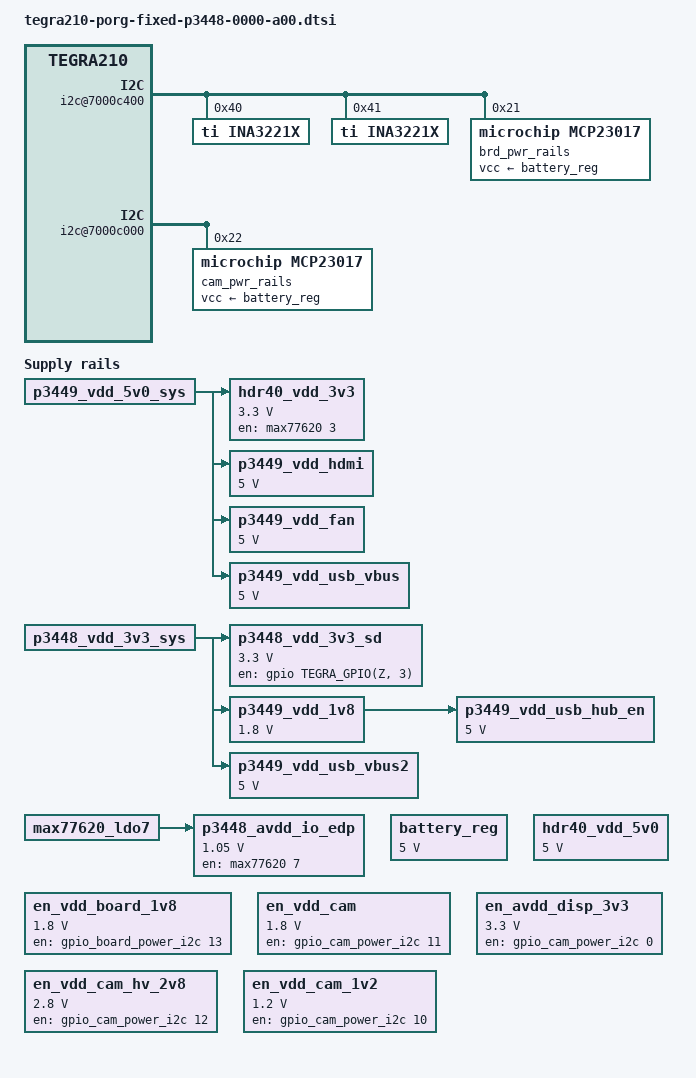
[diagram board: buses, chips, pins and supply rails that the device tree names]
/*
 * Copyright (c) 2018, NVIDIA CORPORATION.  All rights reserved.
 *
 * This program is free software; you can redistribute it and/or modify
 * it under the terms of the GNU General Public License as published by
 * the Free Software Foundation; either version 2 of the License, or
 * (at your option) any later version.
 *
 * This program is distributed in the hope that it will be useful, but WITHOUT
 * ANY WARRANTY; without even the implied warranty of MERCHANTABILITY or
 * FITNESS FOR A PARTICULAR PURPOSE.  See the GNU General Public License for
 * more details.
 *
 * You should have received a copy of the GNU General Public License along
 * with this program; if not, write to the Free Software Foundation, Inc.,
 * 51 Franklin Street, Fifth Floor, Boston, MA  02110-1301, USA.
 */

#include <dt-bindings/gpio/tegra-gpio.h>
#include <dt-bindings/input/input.h>

/ {

	i2c@7000c400 {
		ina3221x@40 { // NAMES FOR THE NEW INA'S
			compatible = "ti,ina3221x";
			reg = <0x40>;
			ti,trigger-config = <0x7003>;
			ti,continuous-config = <0x7c07>;
			ti,enable-forced-continuous;
			#address-cells = <1>;
			#size-cells = <0>;
			channel@0 {
				reg = <0x0>;
				ti,rail-name = "VDD_12V_SENSE";
				ti,shunt-resistor-mohm = <47>;
			};
			channel@1 {
				reg = <0x1>;
				ti,rail-name = "VDD_3V3_SENSE";
				ti,shunt-resistor-mohm = <150>;
			};
			channel@2 {
				reg = <0x2>;
				ti,rail-name = "VDD_5V_SENSE";
				ti,shunt-resistor-mohm = <47>;
			};
		};

		ina3221x@41 {
			compatible = "ti,ina3221x";
			reg = <0x41>;
			ti,trigger-config = <0x7003>;
			ti,continuous-config = <0x7c07>;
			ti,enable-forced-continuous;
			#address-cells = <1>;
			#size-cells = <0>;
			channel@0 {
				reg = <0x0>;
				ti,rail-name = "VDD_1V2_SENSE";
				ti,shunt-resistor-mohm = <47>;
			};
			channel@1 {
				reg = <0x1>;
				ti,rail-name = "VDD_4V_SENSE";
				ti,shunt-resistor-mohm = <150>;
			};
			channel@2 {
				reg = <0x2>;
				ti,rail-name = "VDD_1V8_SENSE";
				ti,shunt-resistor-mohm = <47>;
			};
		};

		gpio_board_power_i2c: gpio@21 {
			compatible = "microchip,mcp23017";
			reg = <0x21>;
			gpio-controller;
			#gpio-cells = <2>;
			vcc-supply = <&battery_reg>;
			status = "okay";
			output-high;
			label = "brd_pwr_rails";
			
			pinctrl-names = "default";
			pinctrl-0 = <&gpio21pullups>;

			gpio21pullups: pinmux {
				pins = "bit0A", "bit1A", "bit2A", "bit3A", "bit4A", "bit5A",  "bit6A",  "bit7A",
				       "bit0B", "bit1B", "bit2B", "bit3B", "bit4B", "bit5B",  "bit6B",  "bit7B";
				bias-pull-up; 
			};
		};
	};
	
	/* Added I2C controller which will control the power */

	i2c@7000c000 {
		gpio_cam_power_i2c: gpio@22 {
			compatible = "microchip,mcp23017";
			reg = <0x22>;
			gpio-controller;
			#gpio-cells = <2>;
			vcc-supply = <&battery_reg>;
			status = "okay";
			output-high;
			label = "cam_pwr_rails";
			
			pinctrl-names = "default";
			pinctrl-0 = <&gpio22pullups>;

			gpio22pullups: pinmux {
				pins = "bit0A", "bit1A", "bit2A", "bit3A", "bit4A", "bit5A",  "bit6A",  "bit7A",
				       "bit0B", "bit1B", "bit2B", "bit3B", "bit4B", "bit5B",  "bit6B",  "bit7B";
				bias-pull-up; 
			};
		};
	};

	
	regulators {
		compatible = "simple-bus";
		device_type = "fixed-regulators";
		#address-cells = <1>;
		#size-cells = <0>;

		battery_reg: regulator@0 {
			compatible = "regulator-fixed";
			reg = <0>;
			regulator-name = "vdd-ac-bat";
			regulator-min-microvolt = <5000000>;
			regulator-max-microvolt = <5000000>;
			regulator-always-on;
		};

		hdr40_vdd_5v0: p3449_vdd_5v0_sys: regulator@1 { /* DC 5V INPUT */
			compatible = "regulator-fixed";
			reg = <1>;
			regulator-name = "vdd-5v0-sys";
			regulator-min-microvolt = <5000000>;
			regulator-max-microvolt = <5000000>;
			regulator-enable-ramp-delay = <160>;
			regulator-disable-ramp-delay = <10000>;
		};

		hdr40_vdd_3v3: p3448_vdd_3v3_sys: regulator@2 {
			compatible = "regulator-fixed-sync";
			reg = <2>;
			regulator-name = "vdd-3v3-sys";
			regulator-min-microvolt = <3300000>;
			regulator-max-microvolt = <3300000>;
			gpio = <&max77620 3 0>;
			enable-active-high;
			vin-supply = <&p3449_vdd_5v0_sys>;
			regulator-enable-ramp-delay = <240>;
			regulator-disable-ramp-delay = <11340>;
		};

		p3448_vdd_3v3_sd: regulator@3 {
			compatible = "regulator-fixed-sync";
			reg = <3>;
			regulator-name = "vdd-3v3-sd";
			regulator-min-microvolt = <3300000>;
			regulator-max-microvolt = <3300000>;
			gpio = <&gpio TEGRA_GPIO(Z, 3) 0>;
			enable-active-high;
			regulator-boot-on;
			vin-supply = <&p3448_vdd_3v3_sys>;
		};

		p3448_avdd_io_edp: regulator@4 {
			compatible = "regulator-fixed-sync";
			reg = <4>;
			regulator-name = "avdd-io-edp-1v05";
			regulator-min-microvolt = <1050000>;
			regulator-max-microvolt = <1050000>;
			gpio = <&max77620 7 0>;
			enable-active-high;
			vin-supply = <&max77620_ldo7>;
		};

		p3449_vdd_hdmi: regulator@5 {
			compatible = "regulator-fixed";
			reg = <5>;
			regulator-name = "vdd-5v0-hdmi";
			regulator-min-microvolt = <5000000>;
			regulator-max-microvolt = <5000000>;
			vin-supply = <&p3449_vdd_5v0_sys>;
		};

		p3449_vdd_1v8: regulator@6 {
			compatible = "regulator-fixed";
			reg = <6>;
			regulator-name = "vdd-1v8-sys";
			regulator-min-microvolt = <1800000>;
			regulator-max-microvolt = <1800000>;
			vin-supply = <&p3448_vdd_3v3_sys>;
		};

		p3449_vdd_fan: regulator@7 {
			compatible = "regulator-fixed";
			reg = <7>;
			regulator-name = "vdd-fan";
			regulator-min-microvolt = <5000000>;
			regulator-max-microvolt = <5000000>;
			vin-supply = <&p3449_vdd_5v0_sys>;
		};

		p3449_vdd_usb_vbus: regulator@8 {
			compatible = "regulator-fixed";
			reg = <8>;
			regulator-name = "vdd-usb-vbus";
			regulator-min-microvolt = <5000000>;
			regulator-max-microvolt = <5000000>;
			vin-supply = <&p3449_vdd_5v0_sys>;
		};

		p3449_vdd_usb_hub_en: regulator@9 {
			compatible = "regulator-fixed-sync";
			reg = <9>;
			regulator-name = "vdd-usb-hub-en";
			regulator-min-microvolt = <5000000>;
			regulator-max-microvolt = <5000000>;
			vin-supply = <&p3449_vdd_1v8>;
		};

		p3449_vdd_usb_vbus2: regulator@10 {
			compatible = "regulator-fixed";
			reg = <10>;
			regulator-name = "vdd-usb-vbus2";
			regulator-min-microvolt = <5000000>;
			regulator-max-microvolt = <5000000>;
			vin-supply = <&p3448_vdd_3v3_sys>;
		};

		/* Added I2C Regulators here */

		en_vdd_board_1v8: regulator@11 {
			compatible = "regulator-fixed-sync";
			reg = <11>;
			regulator-name = "en-vdd-board-1v8";
			regulator-min-microvolt = <1800000>;
			regulator-max-microvolt = <1800000>;
			gpio = <&gpio_board_power_i2c 13 1>;
			enable-active-high;
			regulator-always-on;
			regulator-boot-on;
		};

		en_vdd_cam: regulator@12 {
			compatible = "regulator-fixed-sync";
			reg = <11>;
			regulator-name = "en-vdd-cam";
			regulator-min-microvolt = <1800000>;
			regulator-max-microvolt = <1800000>;
			gpio = <&gpio_cam_power_i2c 11 1>;
			enable-active-high;
			regulator-always-on;
			regulator-boot-on;
		};

		en_avdd_disp_3v3: regulator@13 {
			compatible = "regulator-fixed-sync";
			reg = <12>;
			regulator-name = "en-vdd-disp-3v3";
			regulator-min-microvolt = <3300000>;
			regulator-max-microvolt = <3300000>;
			gpio = <&gpio_cam_power_i2c 0 1>;
			enable-active-high;
			regulator-always-on;
			regulator-boot-on;
		};

		en_vdd_cam_hv_2v8: regulator@14 {
			compatible = "regulator-fixed-sync";
			reg = <13>;
			regulator-name = "en-vdd-cam-hv-2v8";
			regulator-min-microvolt = <2800000>;
			regulator-max-microvolt = <2800000>;
			gpio = <&gpio_cam_power_i2c 12 1>;
			enable-active-high;
			regulator-always-on;
			regulator-boot-on;
		};

		en_vdd_cam_1v2: regulator@15 {
			compatible = "regulator-fixed-sync";
			reg = <14>;
			regulator-name = "en-vdd-cam-1v2";
			regulator-min-microvolt = <1200000>;
			regulator-max-microvolt = <1200000>;
			gpio = <&gpio_cam_power_i2c 10 0>;
			enable-active-high;
			regulator-always-on;
			regulator-boot-on;
		};

		/* I2C Regulators end here */

	};
};

